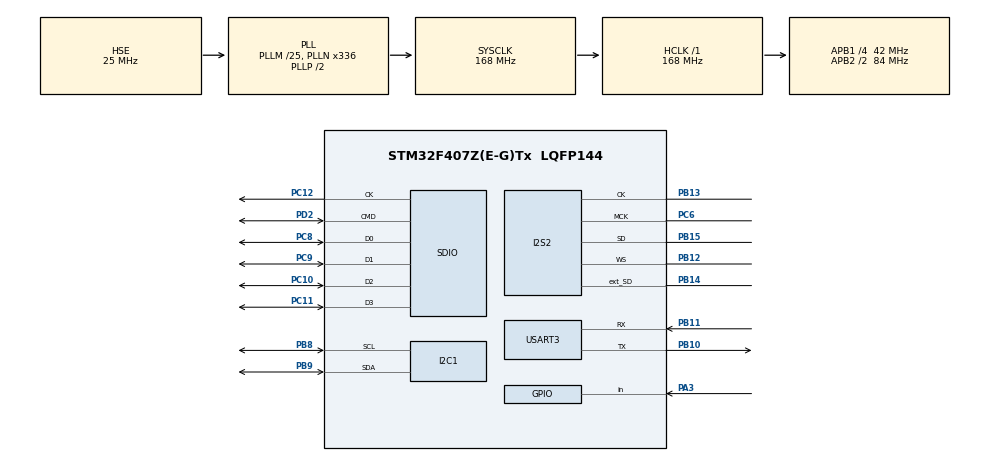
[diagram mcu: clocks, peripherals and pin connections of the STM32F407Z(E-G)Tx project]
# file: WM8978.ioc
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Dma.I2S2_EXT_RX.2.Direction=DMA_PERIPH_TO_MEMORY
Dma.I2S2_EXT_RX.2.FIFOMode=DMA_FIFOMODE_DISABLE
Dma.I2S2_EXT_RX.2.Instance=DMA1_Stream3
Dma.I2S2_EXT_RX.2.MemDataAlignment=DMA_MDATAALIGN_HALFWORD
Dma.I2S2_EXT_RX.2.MemInc=DMA_MINC_ENABLE
Dma.I2S2_EXT_RX.2.Mode=DMA_NORMAL
Dma.I2S2_EXT_RX.2.PeriphDataAlignment=DMA_PDATAALIGN_HALFWORD
Dma.I2S2_EXT_RX.2.PeriphInc=DMA_PINC_DISABLE
Dma.I2S2_EXT_RX.2.Priority=DMA_PRIORITY_LOW
Dma.Request0=SDIO_RX
Dma.Request1=SDIO_TX
Dma.Request2=I2S2_EXT_RX
Dma.Request3=SPI2_TX
Dma.SDIO_RX.0.Direction=DMA_PERIPH_TO_MEMORY
Dma.SDIO_RX.0.FIFOMode=DMA_FIFOMODE_ENABLE
Dma.SDIO_RX.0.FIFOThreshold=DMA_FIFO_THRESHOLD_FULL
Dma.SDIO_RX.0.Instance=DMA2_Stream3
Dma.SDIO_RX.0.MemBurst=DMA_MBURST_INC4
Dma.SDIO_RX.0.MemDataAlignment=DMA_MDATAALIGN_WORD
Dma.SDIO_RX.0.MemInc=DMA_MINC_ENABLE
Dma.SDIO_RX.0.Mode=DMA_PFCTRL
Dma.SDIO_RX.0.PeriphBurst=DMA_PBURST_INC4
Dma.SDIO_RX.0.PeriphDataAlignment=DMA_PDATAALIGN_WORD
Dma.SDIO_RX.0.PeriphInc=DMA_PINC_DISABLE
Dma.SDIO_RX.0.Priority=DMA_PRIORITY_LOW
Dma.SDIO_TX.1.Direction=DMA_MEMORY_TO_PERIPH
Dma.SDIO_TX.1.FIFOMode=DMA_FIFOMODE_ENABLE
Dma.SDIO_TX.1.FIFOThreshold=DMA_FIFO_THRESHOLD_FULL
Dma.SDIO_TX.1.Instance=DMA2_Stream6
Dma.SDIO_TX.1.MemBurst=DMA_MBURST_INC4
Dma.SDIO_TX.1.MemDataAlignment=DMA_MDATAALIGN_WORD
Dma.SDIO_TX.1.MemInc=DMA_MINC_ENABLE
Dma.SDIO_TX.1.Mode=DMA_PFCTRL
Dma.SDIO_TX.1.PeriphBurst=DMA_PBURST_INC4
Dma.SDIO_TX.1.PeriphDataAlignment=DMA_PDATAALIGN_WORD
Dma.SDIO_TX.1.PeriphInc=DMA_PINC_DISABLE
Dma.SDIO_TX.1.Priority=DMA_PRIORITY_LOW
Dma.SPI2_TX.3.Direction=DMA_MEMORY_TO_PERIPH
Dma.SPI2_TX.3.FIFOMode=DMA_FIFOMODE_DISABLE
Dma.SPI2_TX.3.Instance=DMA1_Stream4
Dma.SPI2_TX.3.MemDataAlignment=DMA_MDATAALIGN_HALFWORD
Dma.SPI2_TX.3.MemInc=DMA_MINC_ENABLE
Dma.SPI2_TX.3.Mode=DMA_NORMAL
Dma.SPI2_TX.3.PeriphDataAlignment=DMA_PDATAALIGN_HALFWORD
Dma.SPI2_TX.3.PeriphInc=DMA_PINC_DISABLE
Dma.SPI2_TX.3.Priority=DMA_PRIORITY_LOW
FATFS.USE_DMA_CODE_SD=1
FATFS._CODE_PAGE=936
FATFS._FS_EXFAT=1
FATFS._USE_LFN=2
I2S2.AudioFreq=I2S_AUDIOFREQ_44K
I2S2.ErrorAudioFreq=10.97 %
I2S2.FullDuplexMode=I2S_FULLDUPLEXMODE_ENABLE
I2S2.Instance=SPI$Index
I2S2.Mode=I2S_MODE_MASTER_TX
I2S2.RealAudioFreq=48.828 KHz
I2S2.VirtualMode=I2S_MODE_MASTER
Mcu.Family=STM32F4
Mcu.Name=STM32F407Z(E-G)Tx
Mcu.Package=LQFP144
NVIC.DMA1_Stream3_IRQn=true\:0\:0\:false\:false\:true\:false\:true\:true
NVIC.DMA1_Stream4_IRQn=true\:0\:0\:false\:false\:true\:false\:true\:true
NVIC.DMA2_Stream3_IRQn=true\:0\:0\:false\:false\:true\:false\:true\:true
NVIC.DMA2_Stream6_IRQn=true\:0\:0\:false\:false\:true\:false\:true\:true
NVIC.PriorityGroup=NVIC_PRIORITYGROUP_4
NVIC.SDIO_IRQn=true\:0\:0\:false\:false\:true\:true\:true\:true
NVIC.SPI2_IRQn=true\:0\:0\:false\:false\:true\:true\:true\:true
NVIC.USART3_IRQn=true\:0\:0\:false\:false\:true\:true\:true\:true
PA13.Mode=Serial_Wire
PA13.Signal=SYS_JTMS-SWDIO
PA14.Mode=Serial_Wire
PA14.Signal=SYS_JTCK-SWCLK
PA3.GPIO_PuPd=GPIO_PULLUP
PA3.Signal=GPIO_Input
PB10.Mode=Asynchronous
PB10.Signal=USART3_TX
PB11.Mode=Asynchronous
PB11.Signal=USART3_RX
PB12.Mode=Full_Duplex_Master
PB12.Signal=I2S2_WS
PB13.Mode=Full_Duplex_Master
PB13.Signal=I2S2_CK
PB14.Mode=Full_Duplex_Master
PB14.Signal=I2S2_ext_SD
PB15.Mode=Full_Duplex_Master
PB15.Signal=I2S2_SD
PB8.Mode=I2C
PB8.Signal=I2C1_SCL
PB9.Mode=I2C
PB9.Signal=I2C1_SDA
PC10.Mode=SD_4_bits_Wide_bus
PC10.Signal=SDIO_D2
PC11.Mode=SD_4_bits_Wide_bus
PC11.Signal=SDIO_D3
PC12.Mode=SD_4_bits_Wide_bus
PC12.Signal=SDIO_CK
PC14-OSC32_IN.Mode=LSE-External-Oscillator
PC14-OSC32_IN.Signal=RCC_OSC32_IN
PC15-OSC32_OUT.Mode=LSE-External-Oscillator
PC15-OSC32_OUT.Signal=RCC_OSC32_OUT
PC6.Mode=Master_Clock_Activated
PC6.Signal=I2S2_MCK
PC8.Mode=SD_4_bits_Wide_bus
PC8.Signal=SDIO_D0
PC9.Mode=SD_4_bits_Wide_bus
PC9.Signal=SDIO_D1
PD2.Mode=SD_4_bits_Wide_bus
PD2.Signal=SDIO_CMD
PH0-OSC_IN.Mode=HSE-External-Oscillator
PH0-OSC_IN.Signal=RCC_OSC_IN
PH1-OSC_OUT.Mode=HSE-External-Oscillator
PH1-OSC_OUT.Signal=RCC_OSC_OUT
ProjectManager.HeapSize=0x200
ProjectManager.StackSize=0x800
ProjectManager.TargetToolchain=MDK-ARM V5.32
RCC.48MHZClocksFreq_Value=48000000
RCC.AHBFreq_Value=168000000
RCC.APB1CLKDivider=RCC_HCLK_DIV4
RCC.APB1Freq_Value=42000000
RCC.APB1TimFreq_Value=84000000
RCC.APB2CLKDivider=RCC_HCLK_DIV2
RCC.APB2Freq_Value=84000000
RCC.APB2TimFreq_Value=168000000
RCC.CortexFreq_Value=168000000
RCC.HCLKFreq_Value=168000000
RCC.HSE_VALUE=25000000
RCC.HSI_VALUE=16000000
RCC.PLLI2SN=100
RCC.PLLM=25
RCC.PLLN=336
RCC.PLLQ=7
RCC.PLLSourceVirtual=RCC_PLLSOURCE_HSE
RCC.SYSCLKFreq_VALUE=168000000
RCC.SYSCLKSource=RCC_SYSCLKSOURCE_PLLCLK
RCC.VCOOutputFreq_Value=336000000
USART3.VirtualMode=VM_ASYNC
VP_FATFS_VS_SDIO.Mode=SDIO
board=custom

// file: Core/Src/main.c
/* USER CODE BEGIN Header */
/**
  ******************************************************************************
  * @file           : main.c
  * @brief          : Main program body
  ******************************************************************************
  * @attention
  *
  * Copyright (c) 2025 STMicroelectronics.
  * All rights reserved.
  *
  * This software is licensed under terms that can be found in the LICENSE file
  * in the root directory of this software component.
  * If no LICENSE file comes with this software, it is provided AS-IS.
  *
  ******************************************************************************
  */
/* USER CODE END Header */
#include "main.h"
#include "dma.h"
#include "fatfs.h"
#include "i2c.h"
#include "i2s.h"
#include "sdio.h"
#include "usart.h"
#include "gpio.h"

/* USER CODE BEGIN Includes */
#include "wm8978.h"
#include "record.h"
#include "stdio.h"
#include "audioplay.h"
#include "string.h"
#include "audioplay.h"
/* USER CODE END Includes */

/* USER CODE BEGIN PV */
void sd_mount(void)
{
	retSD = f_mount(&SDFatFS, "0:", 1);                                   // 在SD卡上挂载文件系统; 参数：文件系统对象、驱动器路径、读写模式(0只读、1读写)
    if (retSD == FR_NO_FILESYSTEM)                                        // 检查是否已有文件系统，如果没有，就格式化创建创建文件系统
    {
        printf("SD NO FATFS,Initing\r\n");
        static uint8_t aMountBuffer[4096];                                // 格式化时所需的临时缓存; 块大小512的倍数; 值越大格式化越快, 如果内存不够，可改为512或者1024; 当需要在函数内定义这种大缓存时，要用static修饰，令缓存存放在全局数据区内，不然，可能会导致stack溢出。
        retSD = f_mkfs("0:", FM_FAT32, 0, aMountBuffer, sizeof(aMountBuffer));   // 格式化SD卡; 参数：驱动器、文件系统(0-自动\1-FAT12\2-FAT16\3-FAT32\4-exFat)、簇大小(0为自动选择)、格式化临时缓冲区、缓冲区大小; 格式化前必须先f_mount(x,x,1)挂载，即必须用读写方式挂载; 如果SD卡已格式化，f_mkfs()的第2个参数，不能用0自动，必须指定某个文件系统。
        if (retSD == FR_OK)                                               // 格式化 成功
        {
            printf("SD Init : SUCCESS \r\n");
            retSD = f_mount(NULL, "0:", 1);                               // 格式化后，先取消挂载
            retSD = f_mount(&SDFatFS, "0:", 1);                           // 重新挂载
            if (retSD == FR_OK)
                printf("FatFs success \r\n");                            // 挂载成功
            else
                return;                                                   // 挂载失败，退出函数
        }
        else
        {
            printf("SD Init：Fail \r\n");                              // 格式化 失败
            return;
        }
    }
    else if (retSD != FR_OK)                                              // 挂载异常
    {
        printf("FatFs ERROR: %d; Check MX_SDIO_SD_Init() change to 1B\r", retSD);
        return;
    }
    else                                                                  // 挂载成功
    {
        if (SDFatFS.fs_type == 0x03)                                      // FAT32; 1-FAT12、2-FAT16、3-FAT32、4-exFat
            printf("SD FATFS :FAT32\n");
        if (SDFatFS.fs_type == 0x04)                                      // exFAT; 1-FAT12、2-FAT16、3-FAT32、4-exFat
            printf("SD FATFS :exFAT\n");
        printf("FatFs success \r\n");                                    // 挂载成功
    }
}

/* USER CODE END PV */

void SystemClock_Config(void);
/* USER CODE BEGIN PFP */

#define WAV_BUFFER_SIZE 4096*2
uint16_t Tx_Buffer[WAV_BUFFER_SIZE];  //The buffer of record.
uint16_t Tx_Buffer1[WAV_BUFFER_SIZE];  //The buffer of record.
uint8_t I2S_Callback_Flag=0;
_Bool Buf_flag=0;	//0:使用buf 1：使用buf1

/* USER CODE END PFP */

int main(void)
{

  /* MCU Configuration--------------------------------------------------------*/

  /* Reset of all peripherals, Initializes the Flash interface and the Systick. */
  HAL_Init();

  /* Configure the system clock */
  SystemClock_Config();

  /* Initialize all configured peripherals */
  MX_GPIO_Init();
  MX_DMA_Init();
  MX_I2C1_Init();
  MX_USART3_UART_Init();
  MX_SDIO_SD_Init();
  MX_FATFS_Init();
  MX_I2S2_Init();
  /* USER CODE BEGIN 2 */
/*
	PB10---TX
	PB11---RX
*/
  if(WM8978_Init()) printf("error\r\n");	//WM8978通过I2C配置情况
  else printf("success\r\n");
  WM8978_SPKvol_Set(100);		// 设置喇叭声音
  WM8978_HPvol_Set(20,20);		// 设置耳机音量
  Record_Play_Init();			// 播放I2C配置寄存器
  /* USER CODE END 2 */

  /* Infinite loop */
  /* USER CODE BEGIN WHILE */
	sd_mount();
	u8 res=Play_music((u8*)"0:/2.wav");
	if(res){// 文件打开失败
		while(1){
			printf(".");
			HAL_Delay(1000);
		}
	}
	wav_buffill((uint8_t*)Tx_Buffer,WAV_BUFFER_SIZE*2,wavctrl.bps);	//填充Tx_Buffer
	wav_buffill((uint8_t*)Tx_Buffer1,WAV_BUFFER_SIZE*2,wavctrl.bps);//填充Tx_Buffer1
	HAL_I2S_Transmit_DMA(&hi2s2,Tx_Buffer,WAV_BUFFER_SIZE);	//播放Tx_Buffer
	while (1)
	{
		if(I2S_Callback_Flag){	//I2S buf播放完成
			I2S_Callback_Flag=0;
			if(Buf_flag==0){	//Tx_Buffer播放完毕，播放Tx_Buffer1，填充Tx_Buffer
				HAL_I2S_Transmit_DMA(&hi2s2,Tx_Buffer1,WAV_BUFFER_SIZE);
				if(!wav_buffill((uint8_t*)Tx_Buffer,WAV_BUFFER_SIZE*2,wavctrl.bps)) f_lseek(&SDFile,wavctrl.datastart);//填充Tx_Buffer，播放完重新播放
			}else{				//Tx_Buffer1播放完毕，播放Tx_Buffer，填充Tx_Buffer1
				HAL_I2S_Transmit_DMA(&hi2s2,Tx_Buffer,WAV_BUFFER_SIZE);
				if(!wav_buffill((uint8_t*)Tx_Buffer1,WAV_BUFFER_SIZE*2,wavctrl.bps)) f_lseek(&SDFile,wavctrl.datastart);//填充Tx_Buffer1，播放完重新播放
			}
			Buf_flag=!Buf_flag;
		}
    /* USER CODE END WHILE */

	}
}

void SystemClock_Config(void)
{
  RCC_OscInitTypeDef RCC_OscInitStruct = {0};
  RCC_ClkInitTypeDef RCC_ClkInitStruct = {0};

  /** Configure the main internal regulator output voltage
  */
  __HAL_RCC_PWR_CLK_ENABLE();
  __HAL_PWR_VOLTAGESCALING_CONFIG(PWR_REGULATOR_VOLTAGE_SCALE1);

  /** Initializes the RCC Oscillators according to the specified parameters
  * in the RCC_OscInitTypeDef structure.
  */
  RCC_OscInitStruct.OscillatorType = RCC_OSCILLATORTYPE_HSE;
  RCC_OscInitStruct.HSEState = RCC_HSE_ON;
  RCC_OscInitStruct.PLL.PLLState = RCC_PLL_ON;
  RCC_OscInitStruct.PLL.PLLSource = RCC_PLLSOURCE_HSE;
  RCC_OscInitStruct.PLL.PLLM = 25;
  RCC_OscInitStruct.PLL.PLLN = 336;
  RCC_OscInitStruct.PLL.PLLP = RCC_PLLP_DIV2;
  RCC_OscInitStruct.PLL.PLLQ = 7;
  if (HAL_RCC_OscConfig(&RCC_OscInitStruct) != HAL_OK)
  {
    Error_Handler();
  }

  /** Initializes the CPU, AHB and APB buses clocks
  */
  RCC_ClkInitStruct.ClockType = RCC_CLOCKTYPE_HCLK|RCC_CLOCKTYPE_SYSCLK
                              |RCC_CLOCKTYPE_PCLK1|RCC_CLOCKTYPE_PCLK2;
  RCC_ClkInitStruct.SYSCLKSource = RCC_SYSCLKSOURCE_PLLCLK;
  RCC_ClkInitStruct.AHBCLKDivider = RCC_SYSCLK_DIV1;
  RCC_ClkInitStruct.APB1CLKDivider = RCC_HCLK_DIV4;
  RCC_ClkInitStruct.APB2CLKDivider = RCC_HCLK_DIV2;

  if (HAL_RCC_ClockConfig(&RCC_ClkInitStruct, FLASH_LATENCY_5) != HAL_OK)
  {
    Error_Handler();
  }
}

/* USER CODE BEGIN 4 */
void HAL_I2S_TxCpltCallback(I2S_HandleTypeDef *hi2s)	//发送完成
{
	I2S_Callback_Flag=1;
}
/* USER CODE END 4 */

void Error_Handler(void)
{
  __disable_irq();
  while (1)
  {
  }
}
